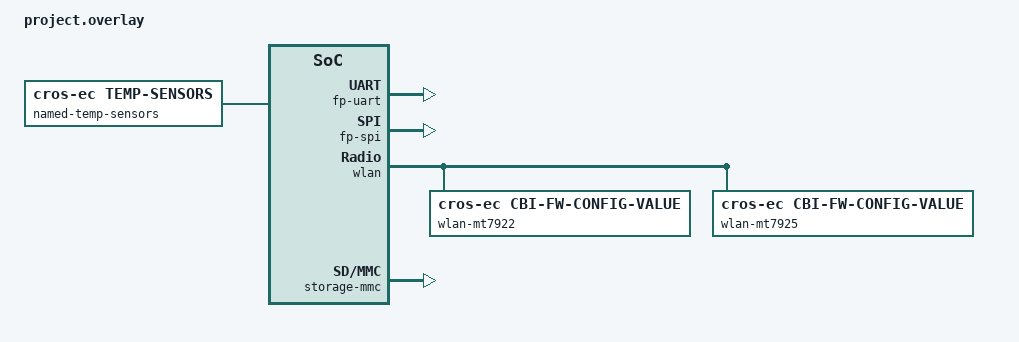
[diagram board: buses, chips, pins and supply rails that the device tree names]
/* Copyright 2023 The ChromiumOS Authors
 * Use of this source code is governed by a BSD-style license that can be
 * found in the LICENSE file.
 */

/* Myst program common DTS includes */
#include "../adc.dtsi"
#include "../fan.dtsi"
#include "../generated.dtsi"
#include "../gpio.dtsi"
#include "../i2c.dtsi"
#include "../interrupts.dtsi"
#include "../keyboard.dtsi"
#include "../usbc.dtsi"

/* Myst project DTS includes*/
#include "led_pins.dtsi"
#include "led_policy.dtsi"
#include "motionsense.dtsi"

/* Myst overrides follow... */
/ {
	/* battery overrides */
	batteries {
		default_battery: lgc_ap19b8m {
			compatible = "lgc,ap19b8m", "battery-smart";
		};
	};

	named-gpios {
		/* Unimplemented */
		gpio_ec_entering_rw: ec_entering_rw {
			enum-name = "GPIO_ENTERING_RW";
		};
		gpio-s5-pgood {
			enum-name = "GPIO_S5_PGOOD";
		};
		pch-sys-prwok {
			enum-name = "GPIO_PCH_SYS_PWROK";
		};
	};

	named-temp-sensors {
		compatible = "cros-ec,temp-sensors";
		soc-pct2075 {
			temp_host_high = <100>;
			temp_host_halt = <105>;
			temp_host_release_high = <80>;
			temp_host_release_halt = <80>;
			temp_fan_off = <35>;
			temp_fan_max = <70>;
			power-good-pin = <&gpio_pg_pwr_s5>;
			sensor = <&soc_pct2075>;
		};
		amb-pct2075 {
			power-good-pin = <&gpio_pg_pwr_s5>;
			sensor = <&amb_pct2075>;
		};
	};

	/*
	 * Note this is expected to vary per-board, so we keep it in the overlay
	 * files.
	 */
	myst-fw-config {
		compatible = "cros-ec,cbi-fw-config";

		form-factor {
			enum-name = "FW_FORM_FACTOR";
			start = <0>;
			size = <1>;

			ff-clamshell {
				compatible = "cros-ec,cbi-fw-config-value";
				enum-name = "FW_FF_CLAMSHELL";
				value = <0>;
			};
			ff-convertible {
				compatible = "cros-ec,cbi-fw-config-value";
				enum-name = "FW_FF_CONVERTIBLE";
				value = <1>;
				default;
			};
		};

		fingerprint {
			enum-name = "FW_FINGERPRINT";
			start = <1>;
			size = <2>;

			fp-disabled {
				compatible = "cros-ec,cbi-fw-config-value";
				enum-name = "FW_FP_DISABLED";
				value = <0>;
				default;
			};
			fp-uart {
				compatible = "cros-ec,cbi-fw-config-value";
				enum-name = "FW_FP_UART";
				value = <1>;
			};
			fp-spi {
				compatible = "cros-ec,cbi-fw-config-value";
				enum-name = "FW_FP_SPI";
				value = <2>;
			};
		};

		wlan {
			enum-name = "FW_WLAN";
			start = <3>;
			size = <2>;

			wlan-mt7922 {
				compatible = "cros-ec,cbi-fw-config-value";
				enum-name = "FW_WLAN_MT7922";
				value = <0>;
				default;
			};
			wlan-mt7925 {
				compatible = "cros-ec,cbi-fw-config-value";
				enum-name = "FW_WLAN_MT7925";
				value = <1>;
			};
		};

		wwan {
			enum-name = "FW_WWAN";
			start = <5>;
			size = <2>;

			wwan-disabled {
				compatible = "cros-ec,cbi-fw-config-value";
				enum-name = "FW_WWAN_DISABLED";
				value = <0>;
				default;
			};
			wwan-fm101-gl {
				compatible = "cros-ec,cbi-fw-config-value";
				enum-name = "FW_WWAN_FM101_GL";
				value = <1>;
			};
		};

		io-db {
			enum-name = "FW_IO_DB";
			start = <7>;
			size = <3>;

			io-db-none {
				compatible = "cros-ec,cbi-fw-config-value";
				enum-name = "FW_IO_DB_NONE";
				value = <0>;
				default;
			};
			io-db-sku-a {
				compatible = "cros-ec,cbi-fw-config-value";
				enum-name = "FW_IO_DB_SKU_A";
				value = <1>;
			};
			io-db-sku-b {
				compatible = "cros-ec,cbi-fw-config-value";
				enum-name = "FW_IO_DB_SKU_B";
				value = <2>;
			};
		};

		kb-bl {
			enum-name = "FW_KB_BL";
			start = <10>;
			size = <1>;

			kb-bl-disabled {
				compatible = "cros-ec,cbi-fw-config-value";
				enum-name = "FW_KB_BL_DISABLED";
				value = <0>;
				default;
			};
			kb-bl-enabled {
				compatible = "cros-ec,cbi-fw-config-value";
				enum-name = "FW_KB_BL_ENABLED";
				value = <1>;
			};
		};

		storage {
			enum-name = "STORAGE_TYPE";
			start = <11>;
			size = <1>;

			storage-nvme {
				compatible = "cros-ec,cbi-fw-config-value";
				enum-name = "STORAGE_TYPE_NVME";
				value = <0>;
				default;
			};
			storage-mmc {
				compatible = "cros-ec,cbi-fw-config-value";
				enum-name = "STORAGE_TYPE_MMC";
				value = <1>;
			};
		};
	};

	/* Rotation matrices for motion sensors. */
	motionsense-rotation-ref {
		compatible = "cros-ec,motionsense-rotation-ref";
		lid_rot_ref: lid-rotation-ref {
			mat33 = <0 (-1) 0
				 1 0 0
				 0 0 1>;
		};

		lid_rot_ref1: lid-rotation-ref1 {
			mat33 = <0 1 0
				 (-1) 0 0
				 0 0 1>;
		};

		base_rot_ref: base-rotation-ref {
			mat33 = <0 1 0
				 (-1) 0 0
				 0 0 1>;
		};
	};

};
